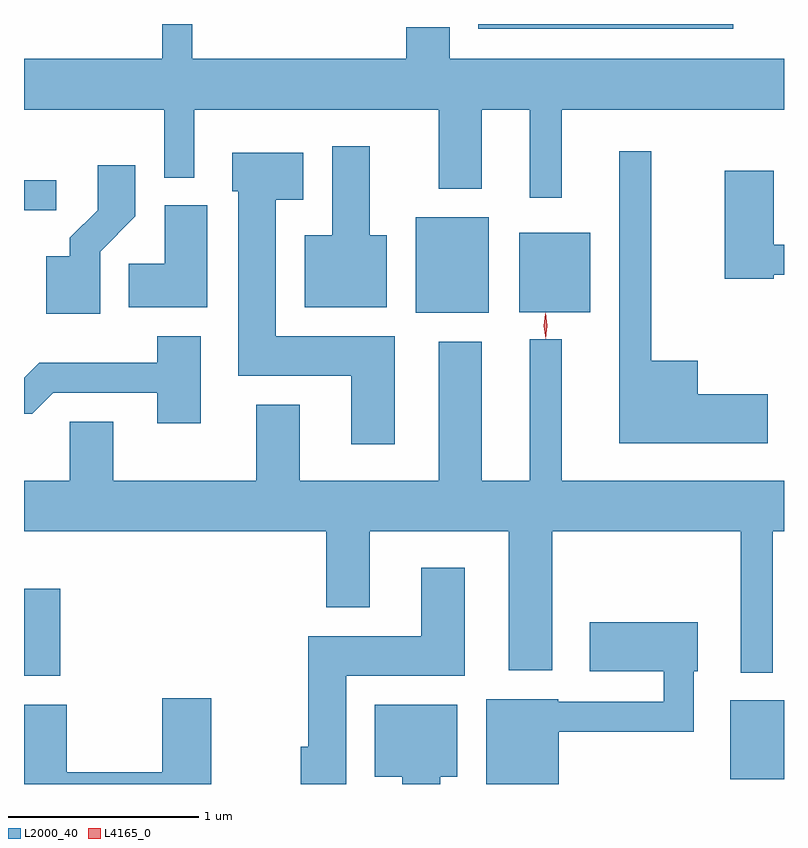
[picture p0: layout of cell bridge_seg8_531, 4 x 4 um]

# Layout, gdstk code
import gdstk
lib = gdstk.Library(unit=1e-6, precision=1e-09)
def R(c, l, rs):  # rectangles x0, y0, x1, y1
    for r in rs: c.add(gdstk.rectangle(r[:2], r[2:], *l))
def P(c, l, *ps):  # polygons
    for p in ps: c.add(gdstk.Polygon(p, *l))
L2000_40 = (2000, 40)
L4165_0 = (4165, 0)

bridge_seg8_531 = lib.new_cell('bridge_seg8_531')
R(bridge_seg8_531, L2000_40, [(213.816,1868.411,214.099,1868.829), (210.099,1868.956,210.289,1869.414), (212.161,1870.866,212.544,1871.369), (212.706,1870.871,213.079,1871.289), (210.099,1871.406,210.268,1871.564), (212.491,1872.361,213.833,1872.387)])
P(bridge_seg8_531, L2000_40, [(212.929,1871.936),(214.099,1871.936),(214.099,1872.204),(212.339,1872.204),(212.339,1872.369),(212.111,1872.369),(212.111,1872.204),(210.984,1872.204),(210.984,1872.387),(210.826,1872.387),(210.826,1872.204),(210.099,1872.204),(210.099,1871.936),(210.836,1871.936),(210.836,1871.578),(210.994,1871.578),(210.994,1871.936),(212.281,1871.936),(212.281,1871.521),(212.509,1871.521),(212.509,1871.936),(212.761,1871.936),(212.761,1871.473),(212.929,1871.473)],
  [(212.009,1871.274),(211.919,1871.274),(211.919,1871.744),(211.721,1871.744),(211.721,1871.274),(211.576,1871.274),(211.576,1870.896),(212.009,1870.896)],
  [(214.014,1870.439),(213.644,1870.439),(213.644,1870.614),(213.399,1870.614),(213.399,1871.718),(213.231,1871.718),(213.231,1870.181),(214.014,1870.181)],
  [(212.049,1870.744),(211.424,1870.744),(211.424,1871.461),(211.569,1871.461),(211.569,1871.709),(211.196,1871.709),(211.196,1871.506),(211.226,1871.506),(211.226,1870.536),(211.821,1870.536),(211.821,1870.176),(212.049,1870.176)],
  [(210.499,1871.189),(210.684,1871.374),(210.684,1871.644),(210.486,1871.644),(210.486,1871.407),(210.341,1871.262),(210.341,1871.164),(210.216,1871.164),(210.216,1870.861),(210.499,1870.861)],
  [(214.044,1871.066),(214.099,1871.066),(214.099,1871.224),(214.044,1871.224),(214.044,1871.614),(213.786,1871.614),(213.786,1871.046),(214.044,1871.046)],
  [(211.064,1871.434),(210.841,1871.434),(210.841,1871.124),(210.651,1871.124),(210.651,1870.896),(211.064,1870.896)],
  [(211.029,1870.744),(210.801,1870.744),(210.801,1870.604),(210.179,1870.604),(210.099,1870.524),(210.099,1870.336),(210.142,1870.336),(210.252,1870.446),(210.801,1870.446),(210.801,1870.286),(211.029,1870.286)],
  [(214.039,1869.716),(214.099,1869.716),(214.099,1869.984),(212.929,1869.984),(212.929,1870.728),(212.761,1870.728),(212.761,1869.984),(212.509,1869.984),(212.509,1870.714),(212.281,1870.714),(212.281,1869.984),(211.549,1869.984),(211.549,1870.384),(211.321,1870.384),(211.321,1869.984),(210.569,1869.984),(210.569,1870.294),(210.341,1870.294),(210.341,1869.984),(210.099,1869.984),(210.099,1869.716),(211.691,1869.716),(211.691,1869.316),(211.919,1869.316),(211.919,1869.716),(212.651,1869.716),(212.651,1868.986),(212.879,1868.986),(212.879,1869.716),(213.871,1869.716),(213.871,1868.973),(214.039,1868.973)],
  [(211.794,1868.956),(212.419,1868.956),(212.419,1869.524),(212.191,1869.524),(212.191,1869.164),(211.596,1869.164),(211.596,1868.584),(211.556,1868.584),(211.556,1868.387),(211.794,1868.387)],
  [(212.914,1868.661),(213.624,1868.661),(213.624,1868.981),(213.644,1868.981),(213.644,1869.239),(213.076,1869.239),(213.076,1868.981),(213.466,1868.981),(213.466,1868.819),(212.91,1868.819),(212.91,1868.834),(212.531,1868.834),(212.531,1868.387),(212.914,1868.387)],
  [(211.084,1868.839),(210.826,1868.839),(210.826,1868.449),(210.324,1868.449),(210.324,1868.804),(210.099,1868.804),(210.099,1868.576),(210.101,1868.576),(210.101,1868.387),(211.084,1868.387)],
  [(212.289,1868.426),(212.379,1868.426),(212.379,1868.804),(211.946,1868.804),(211.946,1868.426),(212.091,1868.426),(212.091,1868.387),(212.289,1868.387)])
P(bridge_seg8_531, L4165_0, [(212.844,1870.733),(212.844,1870.733),(212.834,1870.797),(212.843,1870.861),(212.844,1870.862),(212.844,1870.861),(212.854,1870.798),(212.845,1870.733)],
  [(212.844,1870.73),(212.834,1870.798),(212.844,1870.866),(212.844,1870.866),(212.845,1870.866),(212.854,1870.798),(212.845,1870.73),(212.845,1870.73)])

lib.write_gds('bridge_seg8_531.gds')
